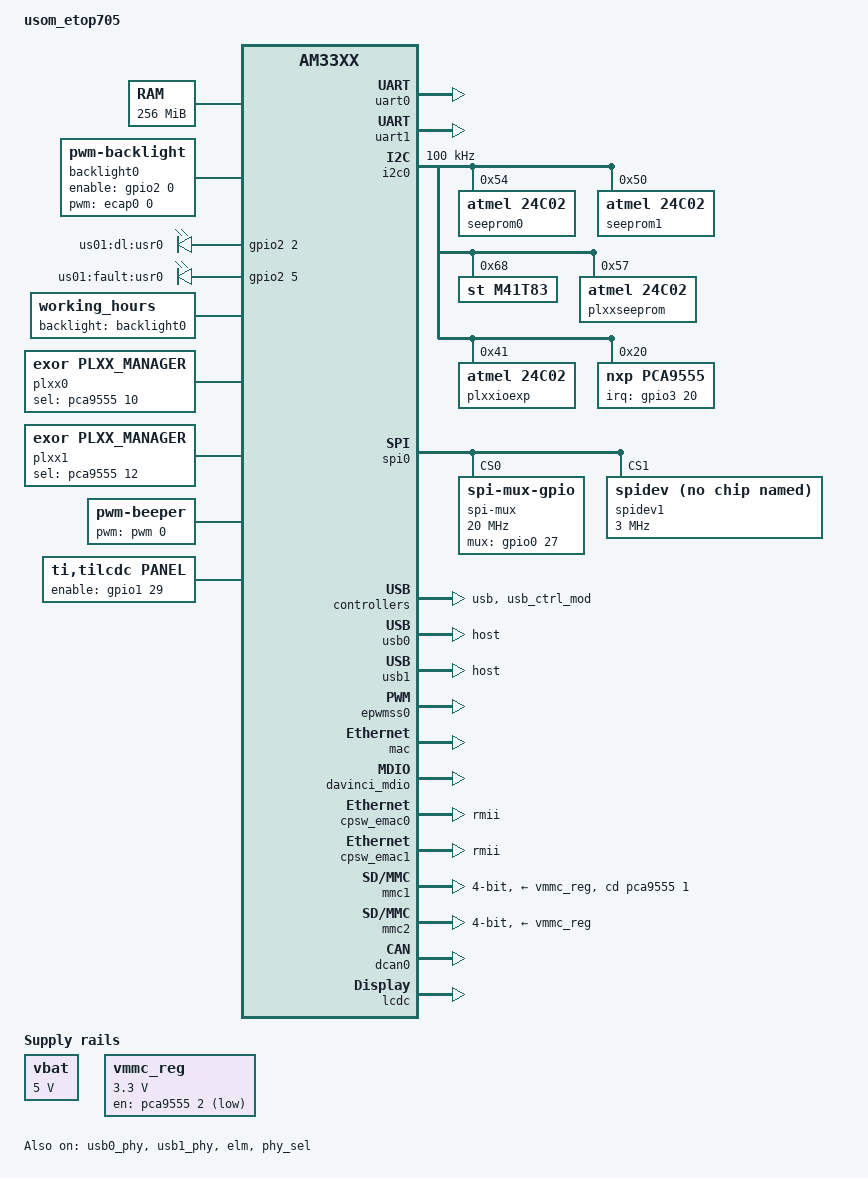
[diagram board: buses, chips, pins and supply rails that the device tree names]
/*
 * Copyright (C) 2012 Texas Instruments Incorporated - http://www.ti.com/
 *
 * This program is free software; you can redistribute it and/or modify
 * it under the terms of the GNU General Public License version 2 as
 * published by the Free Software Foundation.
 */
/dts-v1/;

#include "am33xx.dtsi"
#include <dt-bindings/interrupt-controller/irq.h>

/ {
	model = "usom_etop705";
	compatible = "ti,am335x-evm", "ti,am33xx";

	memory@80000000 {
		device_type = "memory";
		reg = <0x80000000 0x10000000>; /* 256 MB */
	};

	chosen {
		stdout-path = &uart0;
	};
	
	vbat: fixedregulator@0 {
		compatible = "regulator-fixed";
		regulator-name = "vbat";
		regulator-min-microvolt = <5000000>;
		regulator-max-microvolt = <5000000>;
		regulator-boot-on;
	};

	vmmc_reg: fixedregulator@1 {
		compatible = "regulator-fixed";
		regulator-name = "vmmc";
		regulator-min-microvolt = <3300000>;
		regulator-max-microvolt = <3300000>;
		regulator-boot-on;
		regulator-always-on;
		gpio = <&pca9555 2 0>;
	};

	backlight0: backlight {
		compatible = "pwm-backlight";
		pwms = <&ecap0 0 50000 0>;
		brightness-levels = <0 4 8 12 16 20 24 28 32 36 40 44 48 52 56 60 64 68 72 76 80 84 88 92 96 100>;
		default-brightness-level = <0>;
		enable-gpios = <&gpio2 0 0>;
	};

	leds {
		pinctrl-names = "default", "sleep";
		pinctrl-0 = <&user_leds_default>;
		pinctrl-1 = <&user_leds_sleep>;

		compatible = "gpio-leds";

		led@1 {
			label = "us01:dl:usr0";
			gpios = <&gpio2 2 GPIO_ACTIVE_HIGH>;
			default-state = "on";
		};

		led@2 {
			label = "us01:fault:usr0";
			gpios = <&gpio2 5 GPIO_ACTIVE_HIGH>;
			default-state = "off";
		};
	};
	
	pwm: omap-pwm {
	  compatible = "ti,omap-dmtimer-pwm";
	  ti,timers = <&timer6>;
	  #pwm-cells = <3>;
	};

	working_hours {
	  compatible = "working_hours";
	  nvmem-names = "eeprom", "rtcnvram";
	  nvmem = <&seeprom0>, <&m41t83>;
	  backlight = <&backlight0>;
	  status = "okay";
	};	
	
	plxx0: plugin0 {
	  compatible = "exor,plxx_manager";
	  nvmem-names = "eeprom", "ioexp";
	  nvmem = <&plxxseeprom>, <&plxxioexp>;
	  sel-gpio = <&pca9555 10 0>;
	  index = <0>;
	  status = "okay";
	};

	plxx1: plugin1 {
	  compatible = "exor,plxx_manager";
	  nvmem-names = "eeprom", "ioexp";
	  nvmem = <&plxxseeprom>, <&plxxioexp>;
	  sel-gpio = <&pca9555 12 0>;
	  index = <1>;
	  status = "okay";
	};
	
	beeper {
	  compatible = "pwm-beeper";
	  pwms = <&pwm 0 50000 0>;
	};
	
	panel {
		compatible = "ti,tilcdc,panel";
		status = "okay";
		pinctrl-names = "default", "sleep";
		pinctrl-0 = <&lcd_pins_default>;
		pinctrl-1 = <&lcd_pins_sleep>;
		enable-gpio = <&gpio1 29 0>;
		panel-info {
			ac-bias           = <255>;
			ac-bias-intrpt    = <0>;
			dma-burst-sz      = <16>;
			bpp               = <16>;
			fdd               = <0x80>;
			sync-edge         = <0>;
			sync-ctrl         = <1>;
			raster-order      = <0>;
			fifo-th           = <0>;
		};

		display-timings {
			800x480p62 {
				clock-frequency = <30000000>;
				hactive = <800>;
				vactive = <480>;
				hfront-porch = <39>;
				hback-porch = <39>;
				hsync-len = <47>;
				vback-porch = <29>;
				vfront-porch = <13>;
				vsync-len = <2>;
				hsync-active = <1>;
				vsync-active = <1>;
			};
		};
	};

};

&uart0 {
	/delete-property/dmas;
	/delete-property/dma-names;
	pinctrl-names = "default";
	pinctrl-0 = <&uart0_pins>;
	rts-gpio = <&gpio1 6 0>;
	mode-gpio = <&gpio1 7 0>;
	rxen-gpio = <&gpio1 5 0>;
	rs485-rts-active-high;
	status = "okay";
};

&uart1 {
	/delete-property/dmas;
	/delete-property/dma-names;
	pinctrl-names = "default";
	pinctrl-0 = <&uart1_pins>;
	plugin1 = <&plxx0>;
	plugin2 = <&plxx1>;
	status = "okay";
};

&i2c0 {
	pinctrl-names = "default";
	pinctrl-0 = <&i2c0_pins>;

	status = "okay";
	clock-frequency = <100000>;
	/* Set OPP50 (0.95V) for VDD core */
	sleep-sequence = /bits/ 8 <
		0x02 0x2d 0x25 0x1f /* Set VDD2 to 0.95V */
	>;

	/* Set OPP100 (1.10V) for VDD core */
	wake-sequence = /bits/ 8 <
		0x02 0x2d 0x25 0x2b /* Set VDD2 to 1.1V */
	>;

	seeprom0:seeprom0@54 {
		compatible = "atmel,24c02";
		reg = <0x54>;
	};

	seeprom1:seeprom1@50 {
		compatible = "atmel,24c02";
		reg = <0x50>;
	};
			
	m41t83:m41t83@68 {
		compatible = "st,m41t83";
		reg = <0x68>;
	};

	plxxseeprom:seeprom1@57 {
		compatible = "atmel,24c02";
		reg = <0x57>;
	};

	plxxioexp:ioexp1@41 {
		compatible = "atmel,24c02";
		reg = <0x41>;
	};
			
	pca9555: pca9555@20 {
		compatible = "nxp,pca9555";
		interrupt-parent = <&gpio3>;
		interrupts = <20 0x8>;
		gpio-controller;
		#gpio-cells = <2>;
		interrupt-controller;
		#interrupt-cells = <2>;
		reg = <0x20>;
		restart-if-fails;
	};
};

&spi0 {
	pinctrl-names = "default";
	pinctrl-0 = <&spi0_pins>;
	bus-num = <0>;
	status = "okay";

	spi-mux {
	  compatible = "spi-mux-gpio";
	  #address-cells = <1>;
	  #size-cells = <0>;
	  reg = <0>;
	  spi-max-frequency = <20000000>;
	  mux-gpios = <&gpio0 27 0>;

	  spidev0: spi0@0 {
		  compatible = "generic,spidev";
		  reg = <0>;
		  spi-max-frequency = <3000000>;
	  };
			  
	  fram: at25@3 {
	    compatible = "atmel,at25", "st,m95256";
	    reg = <1>;
	    spi-max-frequency = <20000000>;
	    pagesize = <64>;
	    size = <65536>;
	    address-width = <16>;
	  };
	};

	spidev1: spi0@1 {
		compatible = "generic,spidev";
		reg = <1>;
		spi-max-frequency = <3000000>;
	};
};
		
&usb {
	status = "okay";
};

&usb_ctrl_mod {
	status = "okay";
};

&usb0_phy {
	status = "okay";
};

&usb1_phy {
	status = "okay";
};

&usb0 {
	status = "okay";
	dr_mode = "host";
};

&usb1 {
	status = "okay";
	dr_mode = "host";
};

&cppi41dma  {
	status = "okay";
};

&elm {
	status = "okay";
};

&epwmss0 {
	status = "okay";

	ecap0: ecap@48300100 {
		status = "okay";
		pinctrl-names = "default", "sleep";
		pinctrl-0 = <&ecap0_pins_default>;
		pinctrl-1 = <&ecap0_pins_sleep>;
	};
};

&mac {
	slaves = <2>;
	pinctrl-names = "default", "sleep";
	pinctrl-0 = <&cpsw_default>;
	pinctrl-1 = <&cpsw_sleep>;
	dual_emac;
	status = "okay";
};

&davinci_mdio {
	pinctrl-names = "default", "sleep";
	pinctrl-0 = <&davinci_mdio_default>;
	pinctrl-1 = <&davinci_mdio_sleep>;
	status = "okay";
};

&cpsw_emac0 {
  phy_id = <&davinci_mdio>, <0>;
  phy-mode = "rmii";
  status = "okay";
};

&cpsw_emac1 {
  phy_id = <&davinci_mdio>, <1>;
  phy-mode = "rmii";
  status = "okay";
};

&phy_sel {
  rmii-clock-ext;
  status = "okay";
};

&mmc1 {
	status = "okay";
	vmmc-supply = <&vmmc_reg>;
	bus-width = <4>;
	pinctrl-names = "default", "sleep";
	pinctrl-0 = <&mmc1_pins_default>;
	pinctrl-1 = <&mmc1_pins_sleep>;
	cd-gpios = <&pca9555 1 0>; 
};

&mmc2 {
  vmmc-supply = <&vmmc_reg>;
  pinctrl-names = "default";
  pinctrl-0 = <&emmc_pins>;
  bus-width = <4>;
  ti,non-removable;
  status = "okay";
};

&edma {
	ti,edma-xbar-event-map = <1 12
				  2 13>;
};

&dcan0 {
	pinctrl-names = "default";
	pinctrl-0 = <&dcan0_default>;
	status = "okay";
};

&lcdc {		
	status = "okay";
};

&am33xx_pinmux {
		pinctrl-names = "default";
		pinctrl-0 = <&clkout2_pin &lcd_pins_enable &phyuart_ctrl_pins &buzzer_pins_enable>;

		i2c0_pins: pinmux_i2c0_pins {
			pinctrl-single,pins = <
				0x188 (PIN_INPUT_PULLUP | MUX_MODE0)	/* i2c0_sda.i2c0_sda */
				0x18c (PIN_INPUT_PULLUP | MUX_MODE0)	/* i2c0_scl.i2c0_scl */
				0x1A8 (PIN_INPUT_PULLDOWN | MUX_MODE7)  /* mmc1 cd: mcasp0_axr1.mcasp0_axr1. Interrupt from the I2C expander */
			>;
		};

		spi0_pins: pinmux_spi0_pins {
			pinctrl-single,pins = <
				0x150 (PIN_INPUT_PULLUP | MUX_MODE0)    /* spi0_clk.spi0_clk */
				0x154 (PIN_INPUT_PULLUP | MUX_MODE0)    /* spi0_d0.spi0_d0 */
				0x158 (PIN_INPUT_PULLUP | MUX_MODE0)    /* spi0_d1.spi0_d1 */
				0x15c (PIN_INPUT_PULLUP | MUX_MODE0)    /* spi0_cs0.spi0_cs0 */
				0x160 (PIN_INPUT_PULLUP | MUX_MODE0)    /* spi0_cs1.spi0_cs1 */
				0x2C  (PIN_OUTPUT_PULLUP | MUX_MODE7)	/* gpmc_ad11, SEL_CS_SP1 gpio, pullup (Select FRAM) */
				0x28  (PIN_OUTPUT_PULLUP | MUX_MODE7)	/* gpmc_ad10, SEL_CS_SP2 gpio, pullup */
				0x24  (PIN_OUTPUT_PULLDOWN | MUX_MODE7)	/* gpmc_ad9 SEL_SER_CAN: gpio, pulldown */
			>;
		};

		uart0_pins: pinmux_uart0_pins {
			pinctrl-single,pins = <
				0x170 (PIN_INPUT_PULLUP | MUX_MODE0)	/* uart0_rxd.uart0_rxd */
				0x174 (PIN_OUTPUT_PULLDOWN | MUX_MODE0)	/* uart0_txd.uart0_txd */
				0x168 (PIN_INPUT | MUX_MODE0)		/* uart0_ctsn.uart0_ctsn */
				0x16C (PIN_OUTPUT_PULLDOWN | MUX_MODE0)	/* uart0_rtsn.uart0_rtsn */
			>;
		};

		uart1_pins: pinmux_uart1_pins {
			pinctrl-single,pins = <
				0x178 (PIN_INPUT | MUX_MODE0)			/* uart1_ctsn.uart1_ctsn */
				0x17C (PIN_OUTPUT_PULLDOWN | MUX_MODE0)	/* uart1_rtsn.uart1_rtsn */
				0x180 (PIN_INPUT_PULLUP | MUX_MODE0)	/* uart1_rxd.uart1_rxd */
				0x184 (PIN_OUTPUT_PULLDOWN | MUX_MODE0) 	/* uart1_txd.uart1_txd */
			>;
		};

		clkout2_pin: pinmux_clkout2_pin {
			pinctrl-single,pins = <
				0x1b4 (PIN_OUTPUT_PULLDOWN | MUX_MODE3)	/* xdma_event_intr1.clkout2 */
			>;
		};

		ecap0_pins_default: backlight_pins {
			pinctrl-single,pins = <
				0x164 0x0	/* eCAP0_in_PWM0_out.eCAP0_in_PWM0_out MODE0 */
			>;
		};

		ecap0_pins_sleep: ecap0_pins_sleep {
			pinctrl-single,pins = <
				0x164  (PULL_DISABLE | MUX_MODE7)	/* eCAP0_in_PWM0_out.eCAP0_in_PWM0_out */
			>;
		};

		cpsw_default: cpsw_default {
		  pinctrl-single,pins = <
		  /* Slave 1 */
		  0x10c (PIN_INPUT_PULLDOWN | MUX_MODE1) /* mii1_crs.mcasp1_aclkx */
		  0x144 (PIN_INPUT_PULLDOWN | MUX_MODE0) /* rmii1_ref_clk.mcasp1_axr3 */
		  0x13c (PIN_INPUT_PULLDOWN | MUX_MODE1)	/* mii1_rxd1.rgmii1_rd1 */
		  0x140 (PIN_INPUT_PULLDOWN | MUX_MODE1)	/* mii1_rxd0.rgmii1_rd0 */
		  0x110 (PIN_INPUT_PULLDOWN | MUX_MODE1) /* mii1_rxerr.mcasp1_fsx */
		  0x124 (PIN_OUTPUT_PULLDOWN | MUX_MODE1)	/* mii1_txd1.rgmii1_td1 */
		  0x128 (PIN_OUTPUT_PULLDOWN | MUX_MODE1)	/* mii1_txd0.rgmii1_td0 */
		  0x114 (PIN_OUTPUT_PULLDOWN | MUX_MODE1)	/* mii1_txen.rgmii1_tctl */
		  0x70  (PIN_INPUT_PULLDOWN | MUX_MODE3) 
		  0x108 (PIN_INPUT_PULLDOWN | MUX_MODE1) 
		  0x6c  (PIN_INPUT_PULLDOWN | MUX_MODE3)
		  0x68 (PIN_INPUT_PULLDOWN | MUX_MODE3)	
		  0x74 (PIN_INPUT_PULLDOWN | MUX_MODE3) 
		  0x54 (PIN_OUTPUT_PULLDOWN | MUX_MODE3)
		  0x50 (PIN_OUTPUT_PULLDOWN | MUX_MODE3)
		  0x40 (PIN_OUTPUT_PULLDOWN | MUX_MODE3)
		  0x138 (PIN_INPUT_PULLUP | MUX_MODE7)
		  0x64  (PIN_INPUT_PULLUP | MUX_MODE7)
		  >;
		};
		
		cpsw_sleep: cpsw_sleep {
		  pinctrl-single,pins = <
		  /* Slave 1 reset value */
		  0x10c (PIN_INPUT_PULLDOWN | MUX_MODE7)  /* mii1_crs.mcasp1_aclkx */
		  0x144 (PIN_INPUT_PULLDOWN | MUX_MODE7)  /* rmii1_ref_clk.mcasp1_axr3 */
		  0x13c (PIN_INPUT_PULLDOWN | MUX_MODE7)  /* mii1_rxd1.rgmii1_rd1 */
		  0x140 (PIN_INPUT_PULLDOWN | MUX_MODE7)  /* mii1_rxd0.rgmii1_rd0 */
		  0x110 (PIN_INPUT_PULLDOWN | MUX_MODE7)  /* mii1_rxerr.mcasp1_fsx */
		  0x124 (PIN_OUTPUT_PULLDOWN | MUX_MODE7)	/* mii1_txd1.rgmii1_td1 */
		  0x128 (PIN_OUTPUT_PULLDOWN | MUX_MODE7)	/* mii1_txd0.rgmii1_td0 */
		  0x114 (PIN_OUTPUT_PULLDOWN | MUX_MODE7)	/* mii1_txen.rgmii1_tctl */
		  0x70  (MUX_MODE7) 
		  0x108 (MUX_MODE7) 
		  0x6c  (MUX_MODE7)
		  0x68 (MUX_MODE7)	
		  0x74 (MUX_MODE7) 
		  0x54 (MUX_MODE7)
		  0x50 (MUX_MODE7)
		  0x40 (MUX_MODE7)
		  >;
		};
		
		davinci_mdio_default: davinci_mdio_default {
			pinctrl-single,pins = <
				/* MDIO */
				0x148 (PIN_INPUT_PULLUP | SLEWCTRL_FAST | MUX_MODE0)	/* mdio_data.mdio_data */
				0x14c (PIN_OUTPUT_PULLUP | MUX_MODE0)			/* mdio_clk.mdio_clk */
			>;
		};

		davinci_mdio_sleep: davinci_mdio_sleep {
			pinctrl-single,pins = <
				/* MDIO reset value */
				0x148 (PIN_INPUT_PULLDOWN | MUX_MODE7)
				0x14c (PIN_INPUT_PULLDOWN | MUX_MODE7)
			>;
		};

		mmc1_pins_default: pinmux_mmc1_pins {
			pinctrl-single,pins = <
				0x0F0 (PIN_INPUT_PULLUP | MUX_MODE0)	/* mmc0_dat3.mmc0_dat3 */
				0x0F4 (PIN_INPUT_PULLUP | MUX_MODE0)	/* mmc0_dat2.mmc0_dat2 */
				0x0F8 (PIN_INPUT_PULLUP | MUX_MODE0)	/* mmc0_dat1.mmc0_dat1 */
				0x0FC (PIN_INPUT_PULLUP | MUX_MODE0)	/* mmc0_dat0.mmc0_dat0 */
				0x100 (PIN_INPUT_PULLUP | MUX_MODE0)	/* mmc0_clk.mmc0_clk */
				0x104 (PIN_INPUT_PULLUP | MUX_MODE0)	/* mmc0_cmd.mmc0_cmd */
			>;
		};

		mmc1_pins_sleep: pinmux_mmc1_pins_sleep {
			pinctrl-single,pins = <
				0x0F0 (PIN_INPUT_PULLDOWN | MUX_MODE7)
				0x0F4 (PIN_INPUT_PULLDOWN | MUX_MODE7)
				0x0F8 (PIN_INPUT_PULLDOWN | MUX_MODE7)
				0x0FC (PIN_INPUT_PULLDOWN | MUX_MODE7)
				0x100 (PIN_INPUT_PULLDOWN | MUX_MODE7)
				0x104 (PIN_INPUT_PULLDOWN | MUX_MODE7)
			>;
		};

		emmc_pins: pinmux_emmc_pins {
		  pinctrl-single,pins = <
		  0x80 (PIN_INPUT_PULLUP | MUX_MODE2) /* gpmc_csn1.mmc1_clk */
		  0x84 (PIN_INPUT_PULLUP | MUX_MODE2) /* gpmc_csn2.mmc1_cmd */
		  0x00 (PIN_INPUT_PULLUP | MUX_MODE1) /* gpmc_ad0.mmc1_dat0 */
		  0x04 (PIN_INPUT_PULLUP | MUX_MODE1) /* gpmc_ad1.mmc1_dat1 */
		  0x08 (PIN_INPUT_PULLUP | MUX_MODE1) /* gpmc_ad2.mmc1_dat2 */
		  0x0c (PIN_INPUT_PULLUP | MUX_MODE1) /* gpmc_ad3.mmc1_dat3 */
		  >;
		};

		lcd_pins_enable: pinmux_lcd_pins_enable {
		  	pinctrl-single,pins = <
		  		0x7c 0x07	/* gpmc_csn0: EN_VDD / gpio1_29 OUTPUT | MODE7 */
		  		0x88 0x07	/* gpmc_csn3: EN_BL / gpio2_0 OUTPUT | MODE7 */
		  	>;
		};

		phyuart_ctrl_pins: pinmux_phyuart_ctrl_pins {
		  pinctrl-single,pins = <
		  0x1c (PIN_OUTPUT_PULLDOWN | MUX_MODE7)	/* gpmc_ad7: mode_rs485/rs232* / gpio1_7 IN/OUT | MODE7 */
		  0x18 (PIN_OUTPUT_PULLUP | MUX_MODE7)	/* gpmc_ad6: dxen              / gpio1_6 IN/OUT | MODE7 */
		  0x14 (PIN_OUTPUT_PULLUP | MUX_MODE7)	/* gpmc_ad5: rxen              / gpio1_5 IN/OUT | MODE7 */
		  >;
		};

		buzzer_pins_enable: pinmux_buzzer_pins_enable {
		  pinctrl-single,pins = <
		  0x98 0x02	/* gpmc_wen: BUZZER / timer6 OUTPUT | MODE2 */
		  >;
		};

		dcan0_default: dcan0_default_pins {
			pinctrl-single,pins = <
				0x11c (PIN_OUTPUT_PULLDOWN | MUX_MODE1) /* mii1_txd3.d_can0_tx */
				0x120 (PIN_INPUT_PULLUP | MUX_MODE1)    /* miitxd2.d_can0_rx */
			>;
		};

		user_leds_default: user_leds_default {
			pinctrl-single,pins = <
				0x94 (PIN_OUTPUT_PULLDOWN | MUX_MODE7)	/* gpio2_5 */
				0x90 (PIN_OUTPUT_PULLDOWN | MUX_MODE7)	/* gpio2_2 */
			>;
		};

		user_leds_sleep: user_leds_sleep {
			pinctrl-single,pins = <
				0x94 (PIN_OUTPUT_PULLDOWN | MUX_MODE7)	/* gpio2_5 */
				0x90 (PIN_OUTPUT_PULLDOWN | MUX_MODE7)	/* gpio2_2 */
			>;
		};
		
		lcd_pins_default: lcd_pins_default {
			pinctrl-single,pins = <
				0xa0 0x00	/* lcd_data0.lcd_data0, OUTPUT | MODE0 */
				0xa4 0x00	/* lcd_data1.lcd_data1, OUTPUT | MODE0 */
				0xa8 0x00	/* lcd_data2.lcd_data2, OUTPUT | MODE0 */
				0xac 0x00	/* lcd_data3.lcd_data3, OUTPUT | MODE0 */
				0xb0 0x00	/* lcd_data4.lcd_data4, OUTPUT | MODE0 */
				0xb4 0x00	/* lcd_data5.lcd_data5, OUTPUT | MODE0 */
				0xb8 0x00	/* lcd_data6.lcd_data6, OUTPUT | MODE0 */
				0xbc 0x00	/* lcd_data7.lcd_data7, OUTPUT | MODE0 */
				0xc0 0x00	/* lcd_data8.lcd_data8, OUTPUT | MODE0 */
				0xc4 0x00	/* lcd_data9.lcd_data9, OUTPUT | MODE0 */
				0xc8 0x00	/* lcd_data10.lcd_data10, OUTPUT | MODE0 */
				0xcc 0x00	/* lcd_data11.lcd_data11, OUTPUT | MODE0 */
				0xd0 0x00	/* lcd_data12.lcd_data12, OUTPUT | MODE0 */
				0xd4 0x00	/* lcd_data13.lcd_data13, OUTPUT | MODE0 */
				0xd8 0x00	/* lcd_data14.lcd_data14, OUTPUT | MODE0 */
				0xdc 0x00	/* lcd_data15.lcd_data15, OUTPUT | MODE0 */
				0xe0 0x00	/* lcd_vsync.lcd_vsync, OUTPUT | MODE0 */
				0xe4 0x00	/* lcd_hsync.lcd_hsync, OUTPUT | MODE0 */
				0xe8 0x00	/* lcd_pclk.lcd_pclk, OUTPUT | MODE0 */
				0xec 0x00	/* lcd_ac_bias_en.lcd_ac_bias_en, OUTPUT | MODE0 */
				>;
		};

		lcd_pins_sleep: lcd_pins_sleep {
			pinctrl-single,pins = <
				0xa0 (PULL_DISABLE | MUX_MODE7)		/* lcd_data0.lcd_data0 */
				0xa4 (PULL_DISABLE | MUX_MODE7)		/* lcd_data1.lcd_data1 */
				0xa8 (PULL_DISABLE | MUX_MODE7)		/* lcd_data2.lcd_data2 */
				0xac (PULL_DISABLE | MUX_MODE7)		/* lcd_data3.lcd_data3 */
				0xb0 (PULL_DISABLE | MUX_MODE7)		/* lcd_data4.lcd_data4 */
				0xb4 (PULL_DISABLE | MUX_MODE7)		/* lcd_data5.lcd_data5 */
				0xb8 (PULL_DISABLE | MUX_MODE7)		/* lcd_data6.lcd_data6 */
				0xbc (PULL_DISABLE | MUX_MODE7)		/* lcd_data7.lcd_data7 */
				0xc0 (PULL_DISABLE | MUX_MODE7)		/* lcd_data8.lcd_data8 */
				0xc4 (PULL_DISABLE | MUX_MODE7)		/* lcd_data9.lcd_data9 */
				0xc8 (PULL_DISABLE | MUX_MODE7)		/* lcd_data10.lcd_data10 */
				0xcc (PULL_DISABLE | MUX_MODE7)		/* lcd_data11.lcd_data11 */
				0xd0 (PULL_DISABLE | MUX_MODE7)		/* lcd_data12.lcd_data12 */
				0xd4 (PULL_DISABLE | MUX_MODE7)		/* lcd_data13.lcd_data13 */
				0xd8 (PULL_DISABLE | MUX_MODE7)		/* lcd_data14.lcd_data14 */
				0xdc (PULL_DISABLE | MUX_MODE7)		/* lcd_data15.lcd_data15 */
				0xe0 (PIN_INPUT_PULLDOWN | MUX_MODE7)	/* lcd_vsync.lcd_vsync, OUTPUT | MODE0 */
				0xe4 (PIN_INPUT_PULLDOWN | MUX_MODE7)	/* lcd_hsync.lcd_hsync */
				0xe8 (PIN_INPUT_PULLDOWN | MUX_MODE7)	/* lcd_pclk.lcd_pclk */
				0xec (PIN_INPUT_PULLDOWN | MUX_MODE7)	/* lcd_ac_bias_en.lcd_ac_bias_en */
			>;
		};

	};

